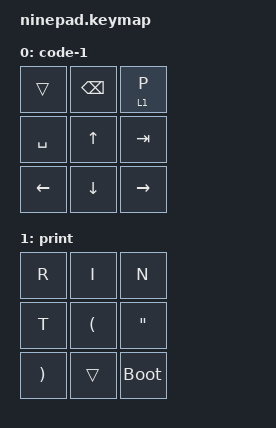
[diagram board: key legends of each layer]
#include <behaviors.dtsi>
#include <dt-bindings/zmk/keys.h>

/ {
    behaviors {
        lgui1_1: lgui1_1 {
            compatible = "zmk,behavior-tap-dance";
            label = "LGUI1_1";
            #binding-cells = <0>;
            bindings = <&kp LG(N1)>, <&to 0>;
        };

        lgui2_2: lgui2_2 {
            compatible = "zmk,behavior-tap-dance";
            label = "LGUI2_2";
            #binding-cells = <0>;
            bindings = <&kp LG(N2)>, <&to 0>;
        };

        lgui3_3: lgui3_3 {
            compatible = "zmk,behavior-tap-dance";
            label = "LGUI3_3";
            #binding-cells = <0>;
            bindings = <&kp LG(N3)>, <&to 0>;
        };

        lgui4_4: lgui4_4 {
            compatible = "zmk,behavior-tap-dance";
            label = "LGUI4_4";
            #binding-cells = <0>;
            bindings = <&kp LG(N4)>, <&to 0>;
        };

        lgui5_5: lgui5_5 {
            compatible = "zmk,behavior-tap-dance";
            label = "LGUI5_5";
            #binding-cells = <0>;
            bindings = <&kp LG(N5)>, <&to 0>, <&kp K_PLAY_PAUSE>;
        };

        lgui6_6: lgui6_6 {
            compatible = "zmk,behavior-tap-dance";
            label = "LGUI6_6";
            #binding-cells = <0>;
            bindings = <&kp LG(N6)>, <&to 0>;
        };

        lgui7_7: lgui7_7 {
            compatible = "zmk,behavior-tap-dance";
            label = "LGUI7_7";
            #binding-cells = <0>;
            bindings = <&kp LG(N7)>, <&to 0>;
        };

        lgui8_8: lgui8_8 {
            compatible = "zmk,behavior-tap-dance";
            label = "LGUI8_8";
            #binding-cells = <0>;
            bindings = <&kp LG(N8)>, <&to 0>;
        };

        lgui9_9: lgui9_9 {
            compatible = "zmk,behavior-tap-dance";
            label = "LGUI9_9";
            #binding-cells = <0>;
            bindings = <&kp LG(N9)>, <&to 0>;
        };

        lgui3_media: lgui3_media {
            compatible = "zmk,behavior-tap-dance";
            label = "LGUI3_MEDIA";
            #binding-cells = <0>;
            bindings = <&kp LG(NUMBER_3)>, <&to 0>, <&kp K_PLAY_PAUSE>;
        };
    };

    combos { compatible = "zmk,combos"; };

    keymap {
        compatible = "zmk,keymap";
        label = "ninepad";

        code-1 {
            bindings = <
&trans     &kp BSPC  &lt 1 P
&kp SPACE  &kp UP    &kp TAB
&kp LEFT   &kp DOWN  &kp RIGHT
            >;
        };

        print {
            bindings = <
&kp R                  &kp I     &kp N
&kp T                  &kp LPAR  &kp DOUBLE_QUOTES
&kp RIGHT_PARENTHESIS  &trans    &bootloader
            >;
        };
    };
};
